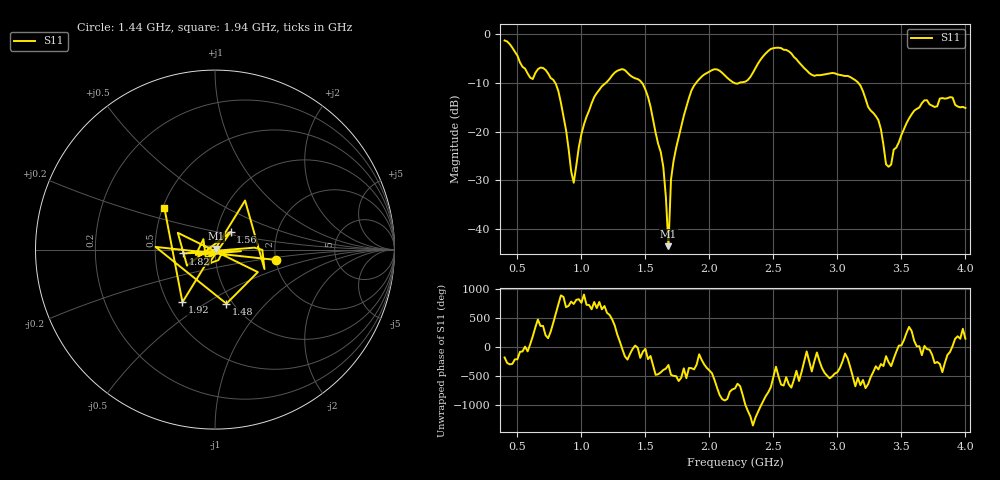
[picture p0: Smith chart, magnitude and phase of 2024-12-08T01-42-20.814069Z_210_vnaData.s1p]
!Created with skrf (http://scikit-rf.org).
# Hz S RI R 50.0
!freq ReS11 ImS11
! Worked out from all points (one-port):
!   181 points, 400 MHz to 4 GHz, reference 50 ohm
!   lowest |S11| = -43.5 dB at 1.68 GHz (marker M1), VSWR 1.01, Z = 50.4 + j0.548 ohm
!   |S11| at or under -10 dB: 795.1 MHz to 1.191 GHz (396.3 MHz wide, 39.9 % of centre); 1.473 GHz to 1.896 GHz (423.8 MHz wide, 25.2 % of centre); 3.163 GHz to end of sweep (the widest 3 of 4)
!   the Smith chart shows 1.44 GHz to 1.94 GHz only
!   S11 on the Smith chart (normalised r, x): 1.44 GHz: 2.01, -0.26; 1.48 GHz: 0.94, -0.62; 1.56 GHz: 1.17, +0.24; 1.82 GHz: 0.70, -0.03; 1.92 GHz: 0.59, -0.40; 1.94 GHz: 0.51, +0.28
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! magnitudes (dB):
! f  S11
! 400 MHz  -1.3
! 600 MHz  -8.9
! 780 MHz  -9.4
! 860 MHz  -17.0
! 940 MHz  -30.5
! 1 GHz  -20.5
! 1.08 GHz  -14.2
! 1.3 GHz  -7.3
! 1.44 GHz  -9.2
! 1.48 GHz  -10.2
! 1.56 GHz  -17.6
! 1.64 GHz  -27.3
! 1.68 GHz  -43.5
! 1.7 GHz  -29.8
! 1.76 GHz  -21.2
! 1.82 GHz  -15.0
! 1.92 GHz  -9.3
! 1.94 GHz  -8.7
! 2.2 GHz  -10.1
! 2.48 GHz  -3.0
! 2.66 GHz  -4.7
! 2.82 GHz  -8.6
! 3.1 GHz  -8.8
! 3.32 GHz  -17.6
! 3.4 GHz  -27.2
! 3.56 GHz  -17.3
! 3.68 GHz  -13.6
! 4 GHz  -15.2
